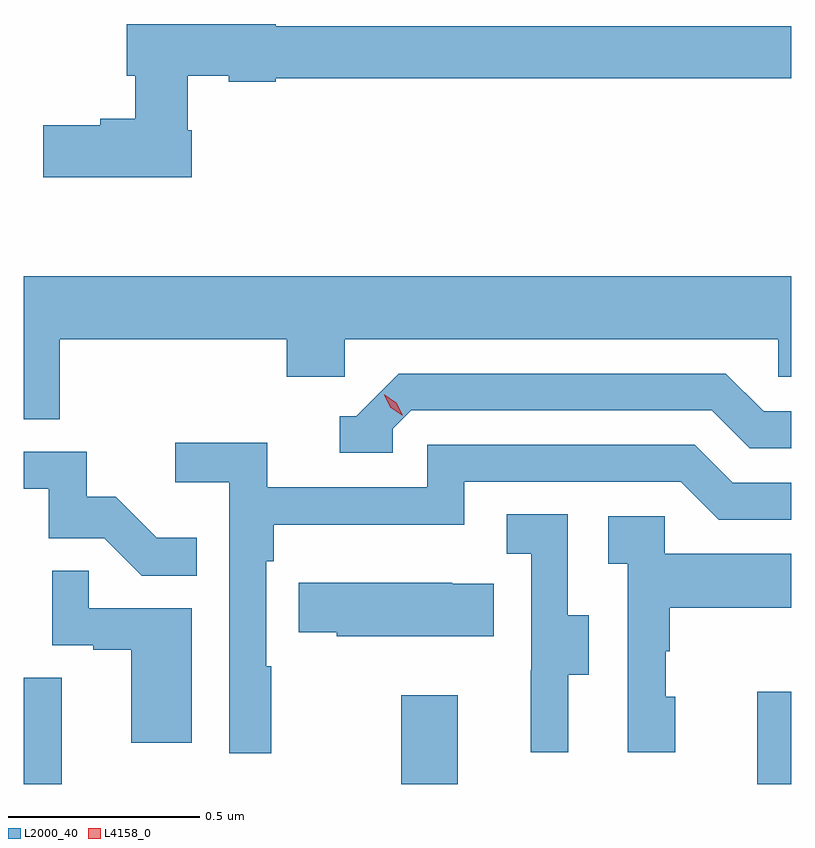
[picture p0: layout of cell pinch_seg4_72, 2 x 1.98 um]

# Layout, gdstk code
import gdstk
lib = gdstk.Library(unit=1e-6, precision=1e-09)
def R(c, l, rs):  # rectangles x0, y0, x1, y1
    for r in rs: c.add(gdstk.rectangle(r[:2], r[2:], *l))
def P(c, l, *ps):  # polygons
    for p in ps: c.add(gdstk.Polygon(p, *l))
L2000_40 = (2000, 40)
L4158_0 = (4158, 0)

pinch_seg4_72 = lib.new_cell('pinch_seg4_72')
R(pinch_seg4_72, L2000_40, [(1040.854,824.965,1040.953,825.242), (1041.838,824.965,1041.985,825.196), (1042.766,824.965,1042.854,825.205)])
P(pinch_seg4_72, L2000_40, [(1041.292,826.669),(1041.281,826.669),(1041.281,826.811),(1041.388,826.811),(1041.388,826.796),(1041.51,826.796),(1041.51,826.804),(1042.854,826.804),(1042.854,826.94),(1041.51,826.94),(1041.51,826.946),(1041.122,826.946),(1041.122,826.811),(1041.145,826.811),(1041.145,826.699),(1041.053,826.699),(1041.053,826.682),(1040.904,826.682),(1040.904,826.547),(1041.292,826.547)],
  [(1040.948,826.124),(1041.539,826.124),(1041.539,826.026),(1041.69,826.026),(1041.69,826.124),(1042.821,826.124),(1042.821,826.026),(1042.854,826.026),(1042.854,826.288),(1040.854,826.288),(1040.854,825.916),(1040.948,825.916)],
  [(1041.816,825.891),(1041.864,825.939),(1042.647,825.939),(1042.746,825.84),(1042.854,825.84),(1042.854,825.936),(1042.783,825.936),(1042.684,826.035),(1041.831,826.035),(1041.72,825.924),(1041.677,825.924),(1041.677,825.828),(1041.816,825.828)],
  [(1041.499,825.272),(1041.486,825.272),(1041.486,825.545),(1041.506,825.545),(1041.506,825.641),(1042.002,825.641),(1042.002,825.753),(1042.566,825.753),(1042.665,825.654),(1042.854,825.654),(1042.854,825.75),(1042.702,825.75),(1042.603,825.849),(1041.906,825.849),(1041.906,825.738),(1041.488,825.738),(1041.488,825.854),(1041.249,825.854),(1041.249,825.752),(1041.39,825.752),(1041.39,825.045),(1041.499,825.045)],
  [(1041.305,825.607),(1041.201,825.607),(1041.094,825.714),(1041.018,825.714),(1041.018,825.831),(1040.854,825.831),(1040.854,825.735),(1040.919,825.735),(1040.919,825.606),(1041.063,825.606),(1041.161,825.508),(1041.305,825.508)],
  [(1042.273,825.25),(1042.327,825.25),(1042.327,825.405),(1042.272,825.405),(1042.272,825.668),(1042.113,825.668),(1042.113,825.565),(1042.176,825.565),(1042.176,825.261),(1042.175,825.261),(1042.175,825.048),(1042.273,825.048)],
  [(1042.552,825.192),(1042.527,825.192),(1042.527,825.311),(1042.537,825.311),(1042.537,825.425),(1042.854,825.425),(1042.854,825.565),(1042.524,825.565),(1042.524,825.663),(1042.377,825.663),(1042.377,825.539),(1042.428,825.539),(1042.428,825.048),(1042.552,825.048)],
  [(1041.292,825.423),(1041.023,825.423),(1041.023,825.521),(1040.928,825.521),(1040.928,825.327),(1041.035,825.327),(1041.035,825.315),(1041.134,825.315),(1041.134,825.072),(1041.292,825.072)],
  [(1042.079,825.487),(1041.971,825.487),(1041.971,825.49),(1041.571,825.49),(1041.571,825.361),(1041.669,825.361),(1041.669,825.35),(1042.079,825.35)])
P(pinch_seg4_72, L4158_0, [(1041.84,825.926),(1041.81,825.946),(1041.794,825.978),(1041.794,825.979),(1041.795,825.979),(1041.825,825.959),(1041.841,825.926),(1041.841,825.926)])

lib.write_gds('pinch_seg4_72.gds')
